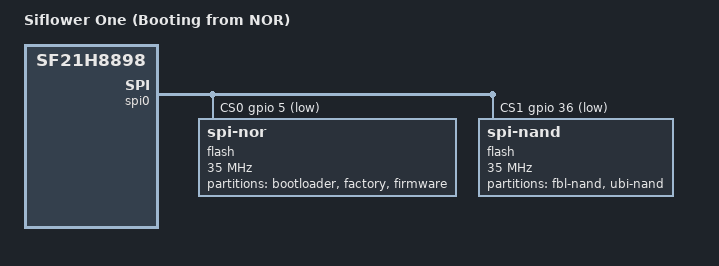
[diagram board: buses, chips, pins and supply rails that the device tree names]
/dts-v1/;
#include "sf21h8898-siflower-one.dtsi"


/ {
	model = "Siflower One (Booting from NOR)";
	compatible = "siflower,one-nor", "siflower,sf21h8898";
};

&spi0 {
	status = "okay";
	num-cs = <2>;
	cs-gpios = <&gpio 5 GPIO_ACTIVE_LOW>, <&gpio 36 GPIO_ACTIVE_LOW>;

	flash@0 {
		compatible = "jedec,spi-nor";
		reg = <0>;
		spi-max-frequency = <35000000>;
		spi-tx-bus-width = <4>;
		spi-rx-bus-width = <4>;

	        partitions {
			compatible = "fixed-partitions";
			#address-cells = <1>;
			#size-cells = <1>;

			partition@0 {
				label = "bootloader";
				reg = <0x0 0x90000>;
				read-only;
			};

			factory: partition@90000 {
				label = "factory";
				reg = <0x90000 0x10000>;
			};

			partition@a0000 {
				label = "firmware";
				reg = <0xa0000 0xf60000>;
				compatible = "denx,fit";
			};
		};
	};

	flash@1 {
		compatible = "spi-nand";
		reg = <1>;
		spi-max-frequency = <35000000>;
		spi-tx-bus-width = <2>;
		spi-rx-bus-width = <2>;
		#address-cells = <1>;
		#size-cells = <1>;

	        partitions {
			compatible = "fixed-partitions";
			#address-cells = <1>;
			#size-cells = <1>;

			partition@0 {
				label = "fbl-nand";
				reg = <0x0 0x20000>;
			};

			partition@20000 {
				label = "ubi-nand";
				reg = <0x20000 0x0>;
			};
		};
	};
};

#include "sf21h8898-factory.dtsi"
